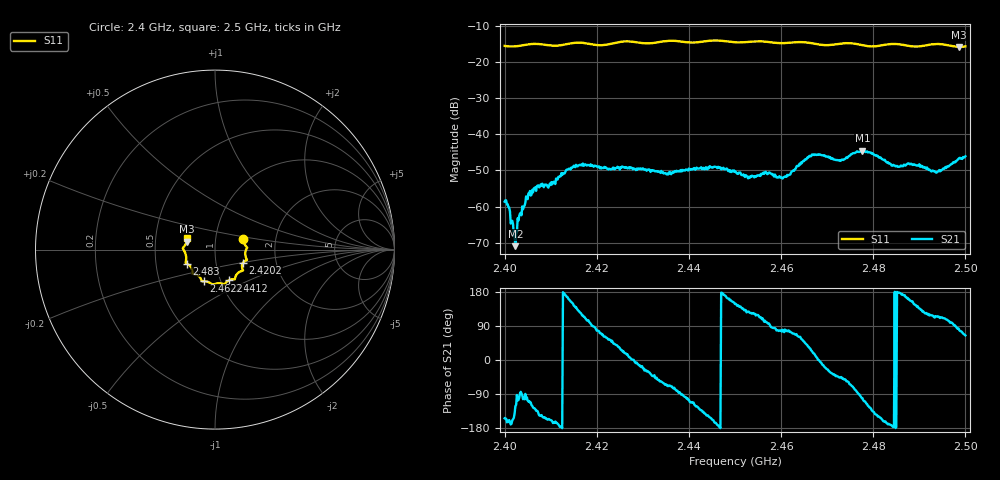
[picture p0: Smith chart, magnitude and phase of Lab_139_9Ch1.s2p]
# Hz S RI R 50
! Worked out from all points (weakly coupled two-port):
!   601 points, 2.4 GHz to 2.5 GHz, reference 50 ohm
!   highest |S21| = -44.51 dB at 2.4777 GHz (marker M1); lowest = -71.0 dB at 2.4023 GHz (marker M2)
!   lowest |S11| = -15.7 dB at 2.4987 GHz (marker M3), VSWR 1.39, Z = 36.3 + j3.3 ohm
!   |S11| at or under -10 dB: start of sweep to end of sweep
!   S12 and S22 are empty: the file has one direction only
!   S11 on the Smith chart (normalised r, x): 2.4 GHz: 1.36, +0.17; 2.4202 GHz: 1.35, -0.20; 2.4412 GHz: 1.09, -0.39; 2.4622 GHz: 0.83, -0.30; 2.483 GHz: 0.72, -0.12; 2.5 GHz: 0.73, +0.09
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2.4e9  0.1573 0.0602  -0.00105 -0.000514  0 0  0 0
2.400667e9  0.158 0.0529  -0.00101 -0.000362  0 0  0 0
2.401833e9  0.1608 0.0391  -0.00052 -0.000226  0 0  0 0
2.402333e9  0.1626 0.0335  -0.00015 -0.000239  0 0  0 0
2.405e9  0.1756 0.0159  -0.000365 -0.00121  0 0  0 0
2.406833e9  0.1792 0.0113  -0.00114 -0.00119  0 0  0 0
2.409833e9  0.1709 -0.00623  -0.00193 -0.000787  0 0  0 0
2.416667e9  0.1771 -0.0586  -0.002 0.00325  0 0  0 0
2.420167e9  0.1569 -0.0724  0.000783 0.00349  0 0  0 0
2.433333e9  0.1134 -0.1521  0.00187 -0.00245  0 0  0 0
2.441167e9  0.0759 -0.1719  -0.00159 -0.00303  0 0  0 0
2.45e9  0.0269 -0.1871  -0.00255 0.00161  0 0  0 0
2.453e9  0.00015 -0.1916  -0.00158 0.00205  0 0  0 0
2.462167e9  -0.0626 -0.1767  0.000878 0.00285  0 0  0 0
2.466667e9  -0.0774 -0.1666  0.0048 0.00213  0 0  0 0
2.473e9  -0.1199 -0.1363  0.00306 -0.00306  0 0  0 0
2.477667e9  -0.1265 -0.1168  -0.00114 -0.00584  0 0  0 0
2.483e9  -0.1586 -0.078  -0.00396 -0.000888  0 0  0 0
2.483333e9  -0.1599 -0.0771  -0.00388 -0.000811  0 0  0 0
2.493667e9  -0.179 0.00594  -0.00124 0.00266  0 0  0 0
2.498667e9  -0.1571 0.0442  0.000915 0.00461  0 0  0 0
2.5e9  -0.1539 0.062  0.0021 0.0045  0 0  0 0
